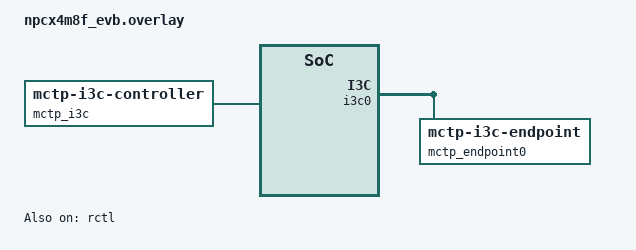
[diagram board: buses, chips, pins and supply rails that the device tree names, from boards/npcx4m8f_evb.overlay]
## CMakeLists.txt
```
cmake_minimum_required(VERSION 3.20.0)

find_package(Zephyr REQUIRED HINTS $ENV{ZEPHYR_BASE})
project(spdm_requester_mctp)

target_sources(app PRIVATE
  src/main.c
  ${CMAKE_CURRENT_LIST_DIR}/../common/sample_ecp256.c
  ${CMAKE_CURRENT_LIST_DIR}/../common/sample_static_blob_store.c
  ${CMAKE_CURRENT_LIST_DIR}/../common/sample_support.c
  ${CMAKE_CURRENT_LIST_DIR}/../common/sample_set_cert.c
)
target_include_directories(app PRIVATE ${CMAKE_CURRENT_LIST_DIR}/../common)
```

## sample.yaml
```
sample:
  description: libspdm SPDM requester over MCTP
  name: libspdm requester
tests:
  sample.lib.libspdm.requester_mctp.i3c.build:
    build_only: true
    tags: libspdm i3c mctp
    platform_allow: npcx4m8f_evb
    integration_platforms:
      - npcx4m8f_evb
  sample.lib.libspdm.requester_mctp.i2c_gpio.build:
    build_only: true
    tags: libspdm i2c mctp
    platform_allow: frdm_mcxn947/mcxn947/cpu0
    integration_platforms:
      - frdm_mcxn947/mcxn947/cpu0
```

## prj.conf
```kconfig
# libspdm: requester only, MCTP transport over libmctp.
CONFIG_LIBSPDM=y
CONFIG_LIBSPDM_REQUESTER=y
CONFIG_LIBSPDM_RESPONDER=n
CONFIG_LIBSPDM_CRYPTO_MBEDTLS=y
CONFIG_LIBSPDM_TRANSPORT_MCTP=y
CONFIG_LIBSPDM_TRANSPORT_MCTP_LIBMCTP=y
CONFIG_LIBSPDM_SECRET_LIB_SAMPLE=y
CONFIG_LIBSPDM_DEBUG_ENABLE=n

# Sized for GET_CERTIFICATE with a ~1.5 KiB ECDSA-P256 chain
CONFIG_LIBSPDM_MCTP_BUFFER_SIZE=2048
CONFIG_LIBSPDM_MCTP_RX_QUEUE_DEPTH=1

# Zephyr libmctp core. The concrete bus binding (MCTP over I3C on
# npcx4m8f_evb, or MCTP over I2C+GPIO on frdm_mcxn947) is board
# specific and is selected in boards/<board>.conf.
CONFIG_MCTP=y

# Should be enough for SPDM_CERTIFICATE response.
CONFIG_MCTP_MAX_MESSAGE_SIZE=2048
CONFIG_MCTP_HEAP_SIZE=6144

CONFIG_TEST_RANDOM_GENERATOR=y

# Allocation budget.
CONFIG_MAIN_STACK_SIZE=4096
CONFIG_HEAP_MEM_POOL_SIZE=0
CONFIG_COMMON_LIBC_MALLOC=y
CONFIG_COMMON_LIBC_MALLOC_ARENA_SIZE=40960

CONFIG_LOG=y
CONFIG_LOG_BUFFER_SIZE=4096
CONFIG_PRINTK=y
```

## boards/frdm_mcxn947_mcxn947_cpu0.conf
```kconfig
CONFIG_I2C=y
CONFIG_I2C_RTIO=y
CONFIG_MCTP_I2C_GPIO_CONTROLLER=y

CONFIG_I2C_MCUX_LPI2C_BUS_RECOVERY=y

# This board has an RTC, so libspdm reads the time from it rather than
# from a callback (CONFIG_LIBSPDM_WALLCLOCK_RTC is picked up by default).
CONFIG_RTC=y
```

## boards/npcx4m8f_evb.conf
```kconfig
CONFIG_I3C=y
CONFIG_MCTP_I3C_CONTROLLER=y
```

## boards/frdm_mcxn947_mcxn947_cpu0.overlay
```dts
/**
 *  Copyright Notice:
 *  Copyright 2026 DMTF. All rights reserved.
 *  License: BSD 3-Clause License. For full text see link: https://github.com/DMTF/libspdm/blob/main/LICENSE.md
 **/

#include <zephyr/dt-bindings/gpio/gpio.h>

/* Connect I2C+GPIO to responder board:
 *  - J2.18 (SDA, to I2C SDA pin on the responder board)
 *  - J2.20 (SCL, to I2C SCL pin on the responder board)
 *  - J8.8  (GPIO, to GPIO pin on the responder board)
 *  - J8.2  (GND, to GND pin on the responder board)
 */
&nxp_lcd_8080_connector {
	status = "disabled";
};

&flexio0 {
	status = "disabled";
};

&gpio0 {
	status = "okay";
};

&gpio4 {
	status = "okay";
};

&flexcomm2 {
	status = "okay";
};

&flexcomm2_lpi2c2 {
	status = "okay";
	clock-frequency = <I2C_BITRATE_STANDARD>;
};

/ {
	mctp_i2c: mctp_i2c {
		compatible = "zephyr,mctp-i2c-gpio-controller";
		i2c = <&flexcomm2_lpi2c2>;
		endpoint-ids = <11>;
		endpoint-addrs = <70>;
		endpoint-gpios = <&gpio0 7 GPIO_ACTIVE_HIGH>;
	};
};
```

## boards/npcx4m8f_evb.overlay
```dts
/**
 *  Copyright Notice:
 *  Copyright 2026 DMTF. All rights reserved.
 *  License: BSD 3-Clause License. For full text see link: https://github.com/DMTF/libspdm/blob/main/LICENSE.md
 **/

/* Connect I3C to responder board:
 *  - I3C1_SCL (to I3C SCL pin on the responder board)
 *  - I3C1_SDA (to I3C SDA pin on the responder board)
 *  - GND (to GND pin on the responder board)

 * Note that there are different form factors of the board, so the actual pin
 * numbers may vary. Check the relevant schematics for details.
 */
&rctl {
	status = "okay";
};

&i3c0 {
	status = "okay";
	i3c-scl-hz = <7500000>;
	i3c-od-scl-hz = <1500000>;

	bcr = <0x67>;

	mctp_endpoint0: mctp_endpoint0@20a00000011 {
		compatible = "zephyr,mctp-i3c-endpoint";
		reg = <0x0000 0x020a 0x00000011>;
		status = "okay";
	};
};

&pcc {
	clock-frequency = <DT_FREQ_M(90)>;
	core-prescaler = <3>;
	apb1-prescaler = <6>;
	apb2-prescaler = <6>;
	apb3-prescaler = <6>;
	apb4-prescaler = <3>;
};

/ {
	mctp_i3c: mctp_i3c {
		compatible = "zephyr,mctp-i3c-controller";
		endpoints = <&mctp_endpoint0>;
		endpoint-ids = <11>;
	};
};
```

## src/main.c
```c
/**
 *  Copyright Notice:
 *  Copyright 2026 DMTF. All rights reserved.
 *  License: BSD 3-Clause License. For full text see link: https://github.com/DMTF/libspdm/blob/main/LICENSE.md
 **/

/*
 * SPDM requester sample over MCTP.
 *
 * Pair this sample with samples/spdm_responder_mctp flashed onto a
 * second board on the same bus.
 */
#include <stdint.h>
#include <stdlib.h>
#include <string.h>

#include <zephyr/kernel.h>
#include <zephyr/logging/log.h>

#include <libmctp.h>
#if defined(CONFIG_MCTP_I3C_CONTROLLER)
#include <zephyr/pmci/mctp/mctp_i3c_controller.h>
#elif defined(CONFIG_MCTP_I2C_GPIO_CONTROLLER)
#include <zephyr/pmci/mctp/mctp_i2c_gpio_controller.h>
#else
#error "no supported MCTP controller binding selected (I3C or I2C+GPIO)"
#endif

#include "library/spdm_common_lib.h"
#include "library/spdm_requester_lib.h"
#include "library/spdm_transport_mctp_lib.h"
#include "internal/libspdm_device_secret_lib.h"
#include "hal/library/memlib.h"
#include "industry_standard/spdm.h"

#include "libspdm/zephyr/mctp_io.h"

#include "sample_ecp256.h"
#include "sample_static_blob_store.h"
#include "sample_support.h"

LOG_MODULE_REGISTER(spdm_requester_mctp, LOG_LEVEL_INF);

/*
 * Application payload exchanged over the secured session.
 * The responder sample must agree on APP_REQUEST / APP_REPLY.
 */
#define APP_REQUEST "ping"
#define APP_REPLY   "pong"

#define LOCAL_EID 20U
#define PEER_EID  11U

/*
 * The MCTP bus binding is selected per board: MCTP over I3C on
 * npcx4m8f_evb, MCTP over I2C+GPIO on frdm_mcxn947. Both expose a
 * struct mctp_binding at .binding, so the rest of the sample is
 * transport agnostic.
 */
#if defined(CONFIG_MCTP_I3C_CONTROLLER)
MCTP_I3C_CONTROLLER_DT_DEFINE(mctp_ctrl, DT_NODELABEL(mctp_i3c));
#else /* CONFIG_MCTP_I2C_GPIO_CONTROLLER */
MCTP_I2C_GPIO_CONTROLLER_DT_DEFINE(mctp_ctrl, DT_NODELABEL(mctp_i2c));
#endif

static struct libspdm_zephyr_mctp_io spdm_io;

static int configure_spdm(void *spdm_ctx)
{
    libspdm_data_parameter_t param;
    spdm_version_number_t version;
    uint8_t u8;
    uint32_t u32;
    uint16_t u16;

    memset(&param, 0, sizeof(param));
    param.location = LIBSPDM_DATA_LOCATION_LOCAL;

    version = (spdm_version_number_t)SPDM_MESSAGE_VERSION_12
              << SPDM_VERSION_NUMBER_SHIFT_BIT;
    if (libspdm_set_data(spdm_ctx, LIBSPDM_DATA_SPDM_VERSION, &param,
                         &version, sizeof(version)) != LIBSPDM_STATUS_SUCCESS) {
        return -1;
    }

    u32 = SPDM_GET_CAPABILITIES_REQUEST_FLAGS_CERT_CAP |
          SPDM_GET_CAPABILITIES_REQUEST_FLAGS_CHAL_CAP |
          SPDM_GET_CAPABILITIES_REQUEST_FLAGS_KEY_EX_CAP |
          SPDM_GET_CAPABILITIES_REQUEST_FLAGS_ENCRYPT_CAP |
          SPDM_GET_CAPABILITIES_REQUEST_FLAGS_MAC_CAP;
    if (libspdm_set_data(spdm_ctx, LIBSPDM_DATA_CAPABILITY_FLAGS, &param,
                         &u32, sizeof(u32)) != LIBSPDM_STATUS_SUCCESS) {
        return -1;
    }

    u8 = SPDM_MEASUREMENT_SPECIFICATION_DMTF;
    (void)libspdm_set_data(spdm_ctx, LIBSPDM_DATA_MEASUREMENT_SPEC,
                           &param, &u8, sizeof(u8));

    u32 = SPDM_ALGORITHMS_BASE_ASYM_ALGO_TPM_ALG_ECDSA_ECC_NIST_P256;
    (void)libspdm_set_data(spdm_ctx, LIBSPDM_DATA_BASE_ASYM_ALGO, &param,
                           &u32, sizeof(u32));

    u32 = SPDM_ALGORITHMS_BASE_HASH_ALGO_TPM_ALG_SHA_256;
    (void)libspdm_set_data(spdm_ctx, LIBSPDM_DATA_BASE_HASH_ALGO, &param,
                           &u32, sizeof(u32));

    u16 = SPDM_ALGORITHMS_DHE_NAMED_GROUP_SECP_256_R1;
    (void)libspdm_set_data(spdm_ctx, LIBSPDM_DATA_DHE_NAME_GROUP, &param,
                           &u16, sizeof(u16));

    u16 = SPDM_ALGORITHMS_AEAD_CIPHER_SUITE_AES_256_GCM;
    (void)libspdm_set_data(spdm_ctx, LIBSPDM_DATA_AEAD_CIPHER_SUITE,
                           &param, &u16, sizeof(u16));

    u16 = SPDM_ALGORITHMS_BASE_ASYM_ALGO_TPM_ALG_ECDSA_ECC_NIST_P256;
    (void)libspdm_set_data(spdm_ctx, LIBSPDM_DATA_REQ_BASE_ASYM_ALG,
                           &param, &u16, sizeof(u16));

    u16 = SPDM_ALGORITHMS_KEY_SCHEDULE_SPDM;
    (void)libspdm_set_data(spdm_ctx, LIBSPDM_DATA_KEY_SCHEDULE, &param,
                           &u16, sizeof(u16));

    u8 = SPDM_ALGORITHMS_OPAQUE_DATA_FORMAT_1;
    (void)libspdm_set_data(spdm_ctx, LIBSPDM_DATA_OTHER_PARAMS_SUPPORT,
                           &param, &u8, sizeof(u8));

    return 0;
}

#ifdef CONFIG_LIBSPDM_CRYPTO_MBEDTLS
static int install_peer_root_cert(void *spdm_ctx)
{
    libspdm_data_parameter_t param;
    void *cert_chain = NULL;
    size_t cert_chain_size = 0;
    void *hash = NULL;
    size_t hash_size = 0;
    const uint8_t *root_cert;
    size_t root_cert_size;
    bool res;

    res = libspdm_read_responder_public_certificate_chain(
        SPDM_ALGORITHMS_BASE_HASH_ALGO_TPM_ALG_SHA_256,
        SPDM_ALGORITHMS_BASE_ASYM_ALGO_TPM_ALG_ECDSA_ECC_NIST_P256,
        &cert_chain, &cert_chain_size, &hash, &hash_size);
    if (!res || cert_chain == NULL) {
        LOG_ERR("cannot load responder cert chain to extract root");
        return -1;
    }

    res = libspdm_x509_get_cert_from_cert_chain(
        (uint8_t *)cert_chain + sizeof(spdm_cert_chain_t) + hash_size,
        cert_chain_size - sizeof(spdm_cert_chain_t) - hash_size,
        0, &root_cert, &root_cert_size);
    if (!res) {
        LOG_ERR("cert-chain root extract failed");
        free(cert_chain);
        return -1;
    }

    memset(&param, 0, sizeof(param));
    param.location = LIBSPDM_DATA_LOCATION_LOCAL;
    (void)libspdm_set_data(spdm_ctx, LIBSPDM_DATA_PEER_PUBLIC_ROOT_CERT,
                           &param, (void *)root_cert, root_cert_size);
    return 0;
}
#endif

int main(void)
{
    struct mctp *mctp_ctx;
    void *spdm_ctx;
    size_t ctx_size;
    void *spdm_scratch;
    size_t scratch_size;
    libspdm_return_t status;
    int rc;

    LOG_INF("SPDM requester on %s", CONFIG_BOARD_TARGET);
    LOG_INF("local EID=%u, peer EID=%u", LOCAL_EID, PEER_EID);

    mctp_ctx = mctp_init();
    __ASSERT_NO_MSG(mctp_ctx != NULL);
    mctp_register_bus(mctp_ctx, &mctp_ctrl.binding, LOCAL_EID);

    rc = libspdm_zephyr_mctp_io_init(&spdm_io, mctp_ctx, PEER_EID);
    if (rc != 0) {
        LOG_ERR("libspdm_zephyr_mctp_io_init failed: %d", rc);
        return rc;
    }

    ctx_size = libspdm_get_context_size();
    spdm_ctx = malloc(ctx_size);
    if (spdm_ctx == NULL) {
        LOG_ERR("libspdm context alloc failed (%zu bytes)", ctx_size);
        return -1;
    }

    libspdm_init_context(spdm_ctx);

    rc = libspdm_zephyr_mctp_io_register(spdm_ctx, &spdm_io);
    if (rc != 0) {
        LOG_ERR("libspdm_zephyr_mctp_io_register failed: %d", rc);
        return rc;
    }

    scratch_size = libspdm_get_sizeof_required_scratch_buffer(spdm_ctx);
    spdm_scratch = malloc(scratch_size);
    if (spdm_scratch == NULL) {
        LOG_ERR("scratch buffer alloc failed (%zu bytes)", scratch_size);
        return -1;
    }
    libspdm_set_scratch_buffer(spdm_ctx, spdm_scratch, scratch_size);

    if (configure_spdm(spdm_ctx) != 0) {
        LOG_ERR("configure_spdm failed");
        return -1;
    }

#ifdef CONFIG_LIBSPDM_CRYPTO_MBEDTLS
    if (sample_static_blob_register(sample_ecp256_blobs) != 0) {
        LOG_ERR("secret blob registration failed");
        return -1;
    }
    /* X.509 validity checks need a wall clock. Point it at a time
     * inside the sample certificates' window. */
    sample_wallclock_init(SAMPLE_ECP256_WALLCLOCK_S);
    if (install_peer_root_cert(spdm_ctx) != 0) {
        return -1;
    }
#endif

    LOG_INF("issuing GET_VERSION");
    status = libspdm_init_connection(spdm_ctx, true);
    if (status != LIBSPDM_STATUS_SUCCESS) {
        LOG_ERR("GET_VERSION failed: 0x%x", status);
        return -1;
    }
    LOG_INF("GET_VERSION ok");

    LOG_INF("issuing GET_CAPABILITIES + NEGOTIATE_ALGORITHMS");
    status = libspdm_init_connection(spdm_ctx, false);
    if (status != LIBSPDM_STATUS_SUCCESS) {
        LOG_ERR("CAPABILITIES/ALGORITHMS failed: 0x%x", status);
        return -1;
    }
    LOG_INF("GET_CAPABILITIES + NEGOTIATE_ALGORITHMS ok");

#ifdef CONFIG_LIBSPDM_CRYPTO_MBEDTLS
    {
        uint8_t slot_mask = 0;
        uint8_t total_digest[LIBSPDM_MAX_HASH_SIZE * SPDM_MAX_SLOT_COUNT];

        status = libspdm_get_digest(spdm_ctx, NULL, &slot_mask, total_digest);
        if (status != LIBSPDM_STATUS_SUCCESS) {
            LOG_ERR("GET_DIGESTS failed: 0x%x", status);
            return -1;
        }
        LOG_INF("GET_DIGESTS ok, slot_mask=0x%02x", slot_mask);
    }

    {
        static uint8_t cert_buf[0x800];
        size_t cert_chain_size = sizeof(cert_buf);

        status = libspdm_get_certificate(spdm_ctx, NULL, 0,
                                         &cert_chain_size, cert_buf);
        if (status != LIBSPDM_STATUS_SUCCESS) {
            LOG_ERR("GET_CERTIFICATE failed: 0x%x", status);
            return -1;
        }
        LOG_INF("GET_CERTIFICATE ok, chain_size=%zu", cert_chain_size);
    }

    {
        uint8_t slot_mask = 0;

        status = libspdm_challenge(spdm_ctx, NULL, 0,
                                   SPDM_CHALLENGE_REQUEST_NO_MEASUREMENT_SUMMARY_HASH,
                                   NULL, &slot_mask);
        if (status != LIBSPDM_STATUS_SUCCESS) {
            LOG_ERR("CHALLENGE_AUTH failed: 0x%x", status);
            return -1;
        }
        LOG_INF("CHALLENGE_AUTH ok");
    }

    LOG_INF("*** SPDM authenticated handshake PASSED ***");

    /*
     * Open an encrypted SPDM session, send the request as a single
     * AEAD-protected application message, check the reply, then close
     * the session.
     */
    {
        uint32_t session_id = 0;
        uint8_t heartbeat_period = 0;
        uint8_t reply[64];
        size_t reply_size = sizeof(reply);

        LOG_INF("starting secure session + ping/pong");

        status = libspdm_start_session(
            spdm_ctx, false /* use_psk */, NULL, 0,
            SPDM_CHALLENGE_REQUEST_NO_MEASUREMENT_SUMMARY_HASH,
            0 /* slot_id */, 0 /* session_policy */,
            &session_id, &heartbeat_period, NULL);
        if (status != LIBSPDM_STATUS_SUCCESS) {
            LOG_ERR("KEY_EXCHANGE/FINISH failed: 0x%x", status);
            return -1;
        }

        status = libspdm_send_receive_data(
            spdm_ctx, &session_id, true /* is_app_message */,
            APP_REQUEST, sizeof(APP_REQUEST) - 1, reply, &reply_size);
        if (status != LIBSPDM_STATUS_SUCCESS) {
            LOG_ERR("app message exchange failed: 0x%x", status);
            (void)libspdm_stop_session(spdm_ctx, session_id, 0);
            return -1;
        }

        if (reply_size != sizeof(APP_REPLY) - 1 ||
            memcmp(reply, APP_REPLY, reply_size) != 0) {
            LOG_ERR("unexpected reply (%zu bytes)", reply_size);
            (void)libspdm_stop_session(spdm_ctx, session_id, 0);
            return -1;
        }
        LOG_INF("sent \"%s\", received \"%s\"", APP_REQUEST, APP_REPLY);

        (void)libspdm_stop_session(spdm_ctx, session_id, 0);
        LOG_INF("*** SPDM session ping/pong PASSED ***");
    }
#else
    LOG_INF("*** SPDM handshake (version/caps/algs) PASSED ***");
#endif

    return 0;
}
```
